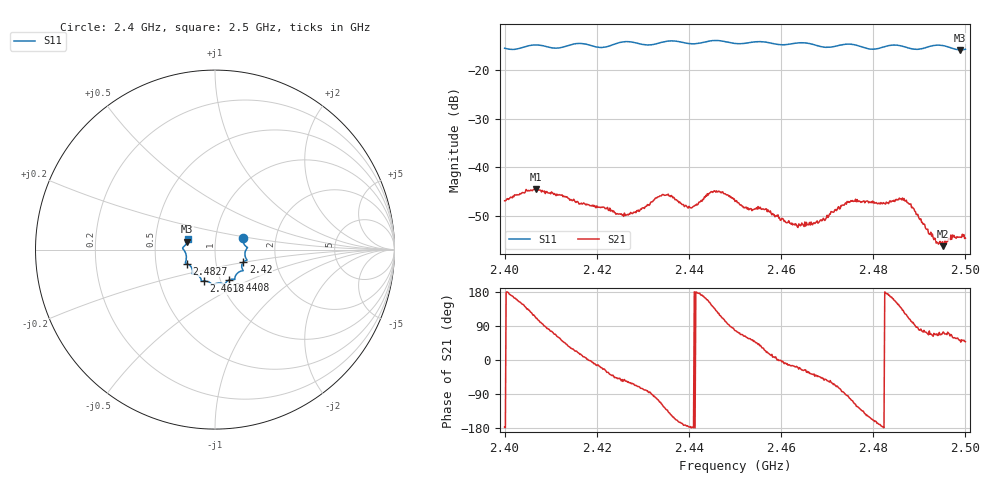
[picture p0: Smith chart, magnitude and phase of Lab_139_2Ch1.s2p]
# Hz S RI R 50
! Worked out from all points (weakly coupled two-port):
!   601 points, 2.4 GHz to 2.5 GHz, reference 50 ohm
!   highest |S21| = -44.49 dB at 2.4068 GHz (marker M1); lowest = -56.2 dB at 2.4952 GHz (marker M2)
!   lowest |S11| = -15.8 dB at 2.4988 GHz (marker M3), VSWR 1.38, Z = 36.4 + j3.33 ohm
!   |S11| at or under -10 dB: start of sweep to end of sweep
!   S12 and S22 are empty: the file has one direction only
!   S11 on the Smith chart (normalised r, x): 2.4 GHz: 1.36, +0.17; 2.42 GHz: 1.36, -0.19; 2.4408 GHz: 1.10, -0.39; 2.4618 GHz: 0.84, -0.30; 2.4827 GHz: 0.72, -0.12; 2.5 GHz: 0.73, +0.09
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2.4e9  0.1559 0.0619  -0.00453 -0.000248  0 0  0 0
2.406833e9  0.1811 0.0113  -0.00208 0.00558  0 0  0 0
2.411333e9  0.1669 -0.0216  0.00244 0.00471  0 0  0 0
2.416667e9  0.1782 -0.0592  0.00417 0.000977  0 0  0 0
2.42e9  0.1582 -0.0693  0.00388 -0.00101  0 0  0 0
2.426667e9  0.1573 -0.1176  0.00171 -0.0028  0 0  0 0
2.433333e9  0.112 -0.1519  -0.0013 -0.0048  0 0  0 0
2.435833e9  0.1108 -0.1659  -0.0039 -0.00324  0 0  0 0
2.440833e9  0.079 -0.1689  -0.00392 -0.000155  0 0  0 0
2.445167e9  0.053 -0.1941  -0.00429 0.00347  0 0  0 0
2.45e9  0.0279 -0.1858  0.000955 0.00435  0 0  0 0
2.461833e9  -0.0603 -0.175  0.0026 -0.00059  0 0  0 0
2.466667e9  -0.077 -0.1684  0.00206 -0.00156  0 0  0 0
2.474833e9  -0.1266 -0.1349  -0.000826 -0.00428  0 0  0 0
2.482667e9  -0.1572 -0.0779  -0.00419 0.000145  0 0  0 0
2.483333e9  -0.1612 -0.0763  -0.00418 0.000681  0 0  0 0
2.486167e9  -0.1636 -0.0674  -0.00331 0.00323  0 0  0 0
2.487667e9  -0.1601 -0.0538  -0.00149 0.00398  0 0  0 0
2.493667e9  -0.1804 0.00709  0.000664 0.00152  0 0  0 0
2.495167e9  -0.1784 0.0119  0.000427 0.00149  0 0  0 0
2.498833e9  -0.1551 0.0445  0.00116 0.00151  0 0  0 0
2.5e9  -0.1519 0.0614  0.00124 0.0014  0 0  0 0
